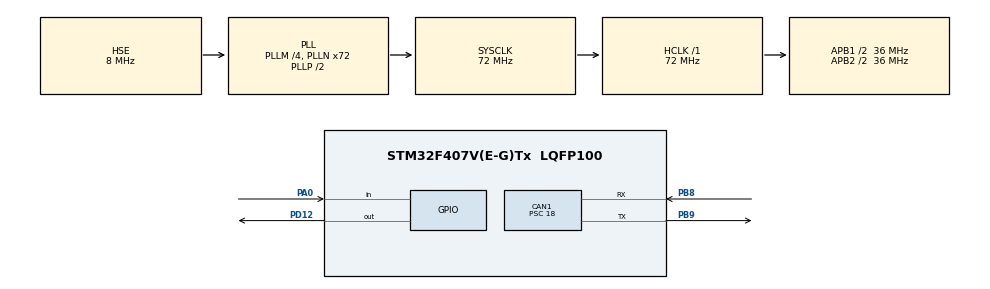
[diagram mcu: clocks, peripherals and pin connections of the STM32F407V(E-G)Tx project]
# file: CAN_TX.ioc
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CAN1.BS1=CAN_BS1_2TQ
CAN1.CalculateBaudRate=500000
CAN1.CalculateTimeBit=2000
CAN1.CalculateTimeQuantum=500.0
CAN1.Mode=CAN_MODE_NORMAL
CAN1.Prescaler=18
Mcu.Family=STM32F4
Mcu.Name=STM32F407V(E-G)Tx
Mcu.Package=LQFP100
NVIC.CAN1_RX0_IRQn=true\:0\:0\:false\:false\:true\:true\:true\:true
NVIC.PriorityGroup=NVIC_PRIORITYGROUP_0
PA0-WKUP.Signal=GPIO_Input
PB8.Mode=CAN_Activate
PB8.Signal=CAN1_RX
PB9.Mode=CAN_Activate
PB9.Signal=CAN1_TX
PD12.Signal=GPIO_Output
PH0-OSC_IN.Mode=HSE-External-Clock-Source
PH0-OSC_IN.Signal=RCC_OSC_IN
PH1-OSC_OUT.Mode=HSE-External-Clock-Source
PH1-OSC_OUT.Signal=RCC_OSC_OUT
ProjectManager.HeapSize=0x200
ProjectManager.StackSize=0x400
ProjectManager.TargetToolchain=STM32CubeIDE
RCC.48MHZClocksFreq_Value=20571428.57142857
RCC.AHBFreq_Value=72000000
RCC.APB1CLKDivider=RCC_HCLK_DIV2
RCC.APB1Freq_Value=36000000
RCC.APB1TimFreq_Value=72000000
RCC.APB2CLKDivider=RCC_HCLK_DIV2
RCC.APB2Freq_Value=36000000
RCC.APB2TimFreq_Value=72000000
RCC.CortexFreq_Value=72000000
RCC.HCLKFreq_Value=72000000
RCC.HSE_VALUE=8000000
RCC.HSI_VALUE=16000000
RCC.LSE_VALUE=32768
RCC.PLLM=4
RCC.PLLN=72
RCC.PLLQ=7
RCC.PLLSourceVirtual=RCC_PLLSOURCE_HSE
RCC.SYSCLKFreq_VALUE=72000000
RCC.SYSCLKSource=RCC_SYSCLKSOURCE_PLLCLK
RCC.VCOOutputFreq_Value=144000000
board=STM32F407G-DISC1

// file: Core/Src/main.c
/* USER CODE BEGIN Header */
/**
  ******************************************************************************
  * @file           : main.c
  * @brief          : Main program body
  ******************************************************************************
  * @attention
  *
  * Copyright (c) 2025 STMicroelectronics.
  * All rights reserved.
  *
  * This software is licensed under terms that can be found in the LICENSE file
  * in the root directory of this software component.
  * If no LICENSE file comes with this software, it is provided AS-IS.
  *
  ******************************************************************************
  */
/* USER CODE END Header */
#include "main.h"

/* USER CODE BEGIN Includes */
#include<string.h>

/* USER CODE END Includes */

CAN_HandleTypeDef hcan1;

void SystemClock_Config(void);
static void MX_GPIO_Init(void);
static void MX_CAN1_Init(void);

/* USER CODE BEGIN 0 */
CAN_TxHeaderTypeDef TxHeader;
uint8_t TxData[8];
/* USER CODE END 0 */

int main(void)
{

  /* MCU Configuration--------------------------------------------------------*/

  /* Reset of all peripherals, Initializes the Flash interface and the Systick. */
  HAL_Init();

  /* Configure the system clock */
  SystemClock_Config();

  /* Initialize all configured peripherals */
  MX_GPIO_Init();
  MX_CAN1_Init();
  /* USER CODE BEGIN 2 */
   uint32_t TxMailBox = 0;
   if (HAL_CAN_Start(&hcan1) != HAL_OK)
    {
      Error_Handler();
    }

    TxHeader.StdId = 0x0AC;         // The ID the receiver will be listening for
    TxHeader.ExtId = 0;
    TxHeader.IDE = CAN_ID_STD;      // Standard ID
    TxHeader.RTR = CAN_RTR_DATA;    // Data frame
    TxHeader.DLC = 6;               // 6 bytes of data
    TxHeader.TransmitGlobalTime = DISABLE;

    strcpy((char*)TxData, "KRISH"); // Data to send

  /* USER CODE END 2 */

  /* Infinite loop */
  while (1)
  {

    /* USER CODE BEGIN 3 */
	  // Check if the user button (PA0) is pressed
	    if (HAL_GPIO_ReadPin(GPIOA, GPIO_PIN_0) == GPIO_PIN_SET)
	    {
	      // Attempt to add the message to a mailbox for transmission
	      if (HAL_CAN_AddTxMessage(&hcan1, &TxHeader, TxData, &TxMailBox) == HAL_OK)
	      {
	        // If transmission is successful, blink the green LED (PD12)
	        HAL_GPIO_WritePin(GPIOD, GPIO_PIN_12, GPIO_PIN_SET);
	        HAL_Delay(100); // Keep LED on for a short duration
	        HAL_GPIO_WritePin(GPIOD, GPIO_PIN_12, GPIO_PIN_RESET);
	      }

	      // A small delay to debounce the button and prevent flooding the CAN bus
	      HAL_Delay(200);
	    }

  }
  /* USER CODE END 3 */
}

void SystemClock_Config(void)
{
  RCC_OscInitTypeDef RCC_OscInitStruct = {0};
  RCC_ClkInitTypeDef RCC_ClkInitStruct = {0};

  /** Configure the main internal regulator output voltage
  */
  __HAL_RCC_PWR_CLK_ENABLE();
  __HAL_PWR_VOLTAGESCALING_CONFIG(PWR_REGULATOR_VOLTAGE_SCALE1);

  /** Initializes the RCC Oscillators according to the specified parameters
  * in the RCC_OscInitTypeDef structure.
  */
  RCC_OscInitStruct.OscillatorType = RCC_OSCILLATORTYPE_HSE;
  RCC_OscInitStruct.HSEState = RCC_HSE_BYPASS;
  RCC_OscInitStruct.PLL.PLLState = RCC_PLL_ON;
  RCC_OscInitStruct.PLL.PLLSource = RCC_PLLSOURCE_HSE;
  RCC_OscInitStruct.PLL.PLLM = 4;
  RCC_OscInitStruct.PLL.PLLN = 72;
  RCC_OscInitStruct.PLL.PLLP = RCC_PLLP_DIV2;
  RCC_OscInitStruct.PLL.PLLQ = 7;
  if (HAL_RCC_OscConfig(&RCC_OscInitStruct) != HAL_OK)
  {
    Error_Handler();
  }

  /** Initializes the CPU, AHB and APB buses clocks
  */
  RCC_ClkInitStruct.ClockType = RCC_CLOCKTYPE_HCLK|RCC_CLOCKTYPE_SYSCLK
                              |RCC_CLOCKTYPE_PCLK1|RCC_CLOCKTYPE_PCLK2;
  RCC_ClkInitStruct.SYSCLKSource = RCC_SYSCLKSOURCE_PLLCLK;
  RCC_ClkInitStruct.AHBCLKDivider = RCC_SYSCLK_DIV1;
  RCC_ClkInitStruct.APB1CLKDivider = RCC_HCLK_DIV2;
  RCC_ClkInitStruct.APB2CLKDivider = RCC_HCLK_DIV2;

  if (HAL_RCC_ClockConfig(&RCC_ClkInitStruct, FLASH_LATENCY_2) != HAL_OK)
  {
    Error_Handler();
  }
}

static void MX_CAN1_Init(void)
{

  hcan1.Instance = CAN1;
  hcan1.Init.Prescaler = 18;
  hcan1.Init.Mode = CAN_MODE_NORMAL;
  hcan1.Init.SyncJumpWidth = CAN_SJW_1TQ;
  hcan1.Init.TimeSeg1 = CAN_BS1_2TQ;
  hcan1.Init.TimeSeg2 = CAN_BS2_1TQ;
  hcan1.Init.TimeTriggeredMode = DISABLE;
  hcan1.Init.AutoBusOff = DISABLE;
  hcan1.Init.AutoWakeUp = DISABLE;
  hcan1.Init.AutoRetransmission = DISABLE;
  hcan1.Init.ReceiveFifoLocked = DISABLE;
  hcan1.Init.TransmitFifoPriority = DISABLE;
  if (HAL_CAN_Init(&hcan1) != HAL_OK)
  {
    Error_Handler();
  }

}

static void MX_GPIO_Init(void)
{
  GPIO_InitTypeDef GPIO_InitStruct = {0};

  /* GPIO Ports Clock Enable */
  __HAL_RCC_GPIOH_CLK_ENABLE();
  __HAL_RCC_GPIOA_CLK_ENABLE();
  __HAL_RCC_GPIOD_CLK_ENABLE();
  __HAL_RCC_GPIOB_CLK_ENABLE();

  /*Configure GPIO pin Output Level */
  HAL_GPIO_WritePin(GPIOD, GPIO_PIN_12, GPIO_PIN_RESET);

  /*Configure GPIO pin : PA0 */
  GPIO_InitStruct.Pin = GPIO_PIN_0;
  GPIO_InitStruct.Mode = GPIO_MODE_INPUT;
  GPIO_InitStruct.Pull = GPIO_NOPULL;
  HAL_GPIO_Init(GPIOA, &GPIO_InitStruct);

  /*Configure GPIO pin : PD12 */
  GPIO_InitStruct.Pin = GPIO_PIN_12;
  GPIO_InitStruct.Mode = GPIO_MODE_OUTPUT_PP;
  GPIO_InitStruct.Pull = GPIO_NOPULL;
  GPIO_InitStruct.Speed = GPIO_SPEED_FREQ_LOW;
  HAL_GPIO_Init(GPIOD, &GPIO_InitStruct);

}

void Error_Handler(void)
{
  __disable_irq();
  while (1)
  {
  }
}
